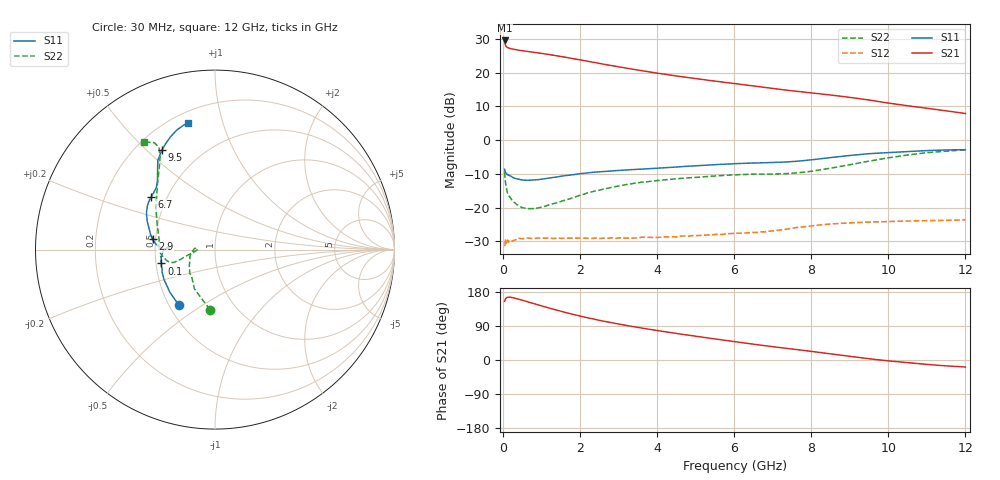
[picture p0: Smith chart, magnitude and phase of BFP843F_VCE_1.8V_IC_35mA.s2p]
! Infineon Technologies  Discrete & RF Semiconductors
! BFP843F
! VCE =  1.8 V,  IC =  35 mA
! Common Emitter S-Parameters:  Aug 2013
# GHz  S  MA  R  50
!  f  S11  S21  S12  S22
! GHz  MAG  ANG  MAG  ANG  MAG  ANG  MAG  ANG
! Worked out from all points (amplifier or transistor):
!   103 points, 30 MHz to 12 GHz, reference 50 ohm
!   highest |S21| = 29.5 dB at 30 MHz (marker M1)
!   |S21| within 3 dB of that: start of sweep to 464.5 MHz
!   unconditionally stable (mu >= 1): 115.6 MHz to end of sweep
!   at 400 MHz: K = 1.01, MAG = 27.1 dB, |S12| = -29.0 dB
!   at 3.7 GHz: K = 1.27, MAG = 21.5 dB, |S12| = -28.8 dB
!   at 12 GHz: K = 1.16, MAG = 13.3 dB, |S12| = -23.6 dB
!   S11 on the Smith chart (normalised r, x): 30 MHz: 0.56, -0.40; 100 MHz: 0.54, -0.09; 2.9 GHz: 0.48, +0.06; 6.7 GHz: 0.41, +0.31; 9.5 GHz: 0.30, +0.56; 12 GHz: 0.26, +0.78
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0.03  0.3684 -123.2  29.84 154.7  0.0269 23.3  0.3357 -94.8
0.04  0.346 -136.8  27.22 157.1  0.0284 19.1  0.2739 -107.8
0.05  0.3356 -142.6  25.71 160.7  0.0346 13.8  0.247 -117.6
0.07  0.32 -157.2  24.35 163.5  0.0295 11.3  0.1968 -132.0
0.1  0.3081 -165.5  23.52 165.3  0.0313 10.6  0.167 -149.2
0.14  0.3047 -172.7  22.97 165.9  0.0322 7.9  0.148 -160.6
0.2  0.2906 -178.1  22.46 165.3  0.0315 7.3  0.1349 -171.7
0.9  0.2593 179.0  19.53 145.4  0.0356 5.1  0.0989 -179.6
1.2  0.2755 179.4  18.43 136.7  0.0353 6.3  0.1111 -174.9
1.6  0.2976 178.2  16.89 125.7  0.0351 5.4  0.1291 -170.7
2.1  0.3228 175.4  15.01 113.3  0.0354 7.5  0.1587 -168.0
2.5  0.3391 173.1  13.62 104.5  0.0349 8.1  0.1822 -165.7
2.9  0.3528 170.7  12.42 96.7  0.0349 10.0  0.2042 -164.0
3.4  0.3666 167.0  11.1 87.6  0.0355 12.9  0.2301 -163.0
4.1  0.3873 162.1  9.606 76.1  0.0364 15.5  0.2548 -163.9
5  0.4165 155.6  8.133 62.7  0.0385 19.6  0.2806 -168.7
6.1  0.4496 146.7  6.764 47.1  0.0418 22.8  0.3071 -178.3
6.7  0.4611 140.3  6.11 39.0  0.0439 25.8  0.3138 175.8
8.5  0.5509 125.5  4.646 16.2  0.0574 25.6  0.3837 148.4
9.5  0.6292 118.0  3.918 3.3  0.0612 21.8  0.4882 131.0
10.5  0.6759 111.5  3.225 -7.0  0.0633 18.7  0.602 120.5
12  0.7212 101.9  2.475 -18.5  0.066 18.6  0.7188 123.4
